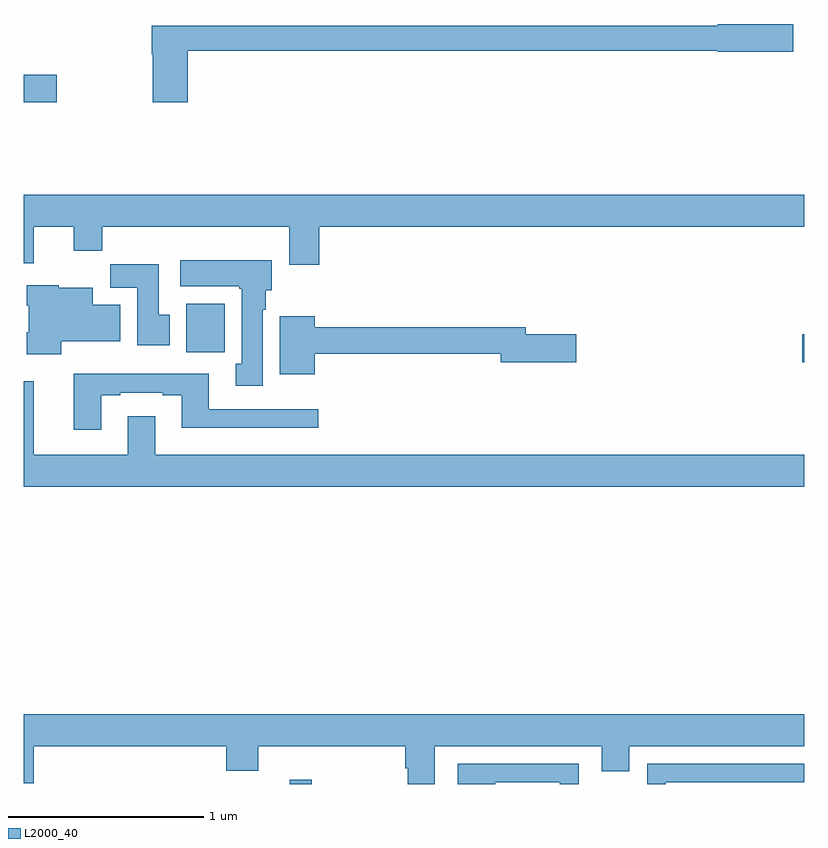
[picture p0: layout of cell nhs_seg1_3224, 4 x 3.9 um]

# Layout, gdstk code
import gdstk
lib = gdstk.Library(unit=1e-6, precision=1e-09)
def R(c, l, rs):  # rectangles x0, y0, x1, y1
    for r in rs: c.add(gdstk.rectangle(r[:2], r[2:], *l))
def P(c, l, *ps):  # polygons
    for p in ps: c.add(gdstk.Polygon(p, *l))
L2000_40 = (2000, 40)

nhs_seg1_3224 = lib.new_cell('nhs_seg1_3224')
R(nhs_seg1_3224, L2000_40, [(286.362,558.199,286.477,558.22), (288.99,560.362,289,560.504), (285.833,560.412,286.029,560.662), (285,561.694,285.169,561.836)])
P(nhs_seg1_3224, L2000_40, [(285.839,561.958),(288.558,561.958),(288.558,561.953),(288.943,561.953),(288.943,562.095),(288.558,562.095),(288.558,562.087),(285.656,562.087),(285.656,561.941),(285.661,561.941),(285.661,561.693),(285.839,561.693)],
  [(285,560.868),(285.052,560.868),(285.052,561.056),(285.257,561.056),(285.257,560.932),(285.401,560.932),(285.401,561.056),(286.361,561.056),(286.361,560.862),(286.514,560.862),(286.514,561.056),(289,561.056),(289,561.22),(285,561.22)],
  [(286.225,560.63),(286.24,560.63),(286.24,560.73),(286.27,560.73),(286.27,560.884),(285.801,560.884),(285.801,560.75),(286.105,560.75),(286.105,560.737),(286.118,560.737),(286.118,560.353),(286.085,560.353),(286.085,560.241),(286.225,560.241)],
  [(285.748,560.604),(285.691,560.604),(285.691,560.863),(285.442,560.863),(285.442,560.744),(285.581,560.744),(285.581,560.448),(285.748,560.448)],
  [(285.192,560.468),(285.493,560.468),(285.493,560.656),(285.352,560.656),(285.352,560.743),(285.18,560.743),(285.18,560.755),(285.014,560.755),(285.014,560.651),(285.026,560.651),(285.026,560.515),(285.014,560.515),(285.014,560.403),(285.192,560.403)],
  [(286.492,560.404),(287.444,560.404),(287.444,560.362),(287.833,560.362),(287.833,560.504),(287.572,560.504),(287.572,560.54),(286.492,560.54),(286.492,560.596),(286.313,560.596),(286.313,560.3),(286.492,560.3)],
  [(285.397,560.193),(285.493,560.193),(285.493,560.205),(285.713,560.205),(285.713,560.193),(285.809,560.193),(285.809,560.024),(286.51,560.024),(286.51,560.121),(285.949,560.121),(285.949,560.302),(285.257,560.302),(285.257,560.016),(285.397,560.016)],
  [(289,559.888),(285.673,559.888),(285.673,560.083),(285.533,560.083),(285.533,559.888),(285.052,559.888),(285.052,560.263),(285,560.263),(285,559.724),(289,559.724)],
  [(287.107,558.392),(287.963,558.392),(287.963,558.265),(288.103,558.265),(288.103,558.392),(289,558.392),(289,558.556),(285,558.556),(285,558.204),(285.052,558.204),(285.052,558.392),(286.037,558.392),(286.037,558.268),(286.202,558.268),(286.202,558.392),(286.955,558.392),(286.955,558.28),(286.969,558.28),(286.969,558.199),(287.107,558.199)],
  [(287.416,558.207),(287.748,558.207),(287.748,558.199),(287.844,558.199),(287.844,558.303),(287.223,558.303),(287.223,558.199),(287.416,558.199)],
  [(288.291,558.207),(289,558.207),(289,558.303),(288.195,558.303),(288.195,558.199),(288.291,558.199)])

lib.write_gds('nhs_seg1_3224.gds')
